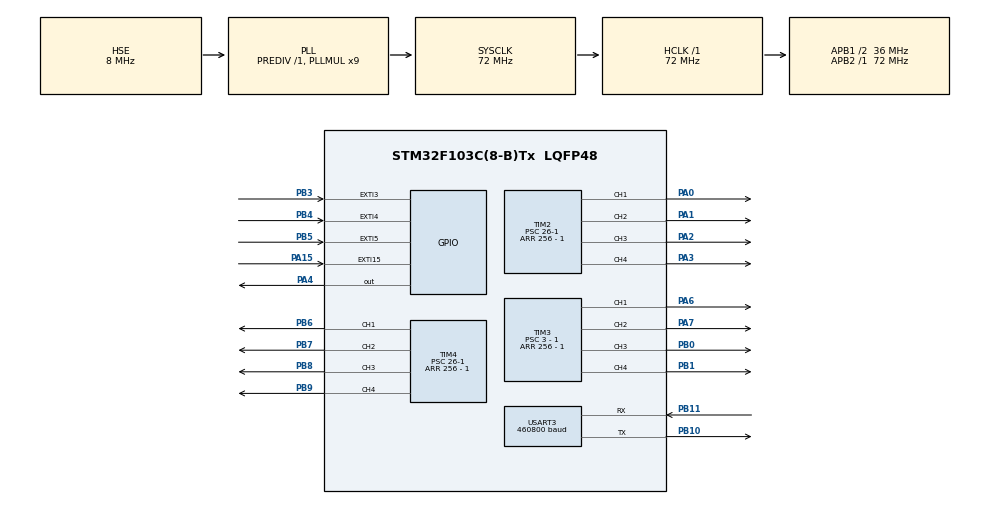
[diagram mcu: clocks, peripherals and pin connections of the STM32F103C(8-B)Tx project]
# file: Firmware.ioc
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Dma.Request0=USART3_RX
Dma.USART3_RX.0.Direction=DMA_PERIPH_TO_MEMORY
Dma.USART3_RX.0.Instance=DMA1_Channel3
Dma.USART3_RX.0.MemDataAlignment=DMA_MDATAALIGN_BYTE
Dma.USART3_RX.0.MemInc=DMA_MINC_ENABLE
Dma.USART3_RX.0.Mode=DMA_NORMAL
Dma.USART3_RX.0.PeriphDataAlignment=DMA_PDATAALIGN_BYTE
Dma.USART3_RX.0.PeriphInc=DMA_PINC_DISABLE
Dma.USART3_RX.0.Priority=DMA_PRIORITY_LOW
Mcu.Family=STM32F1
Mcu.Name=STM32F103C(8-B)Tx
Mcu.Package=LQFP48
NVIC.DMA1_Channel3_IRQn=true\:0\:0\:false\:false\:true\:false\:true\:true
NVIC.EXTI15_10_IRQn=true\:0\:0\:false\:false\:true\:true\:true\:true
NVIC.EXTI3_IRQn=true\:0\:0\:false\:false\:true\:true\:true\:true
NVIC.EXTI4_IRQn=true\:0\:0\:false\:false\:true\:true\:true\:true
NVIC.EXTI9_5_IRQn=true\:0\:0\:false\:false\:true\:true\:true\:true
NVIC.PriorityGroup=NVIC_PRIORITYGROUP_4
NVIC.USART3_IRQn=true\:0\:0\:false\:false\:true\:true\:true\:true
PA0-WKUP.Signal=S_TIM2_CH1_ETR
PA1.Signal=S_TIM2_CH2
PA15.GPIO_ModeDefaultEXTI=GPIO_MODE_IT_RISING
PA15.Signal=GPXTI15
PA2.Signal=S_TIM2_CH3
PA3.Signal=S_TIM2_CH4
PA4.Signal=GPIO_Output
PA6.Signal=S_TIM3_CH1
PA7.Signal=S_TIM3_CH2
PB0.Signal=S_TIM3_CH3
PB1.Signal=S_TIM3_CH4
PB10.Mode=Asynchronous
PB10.Signal=USART3_TX
PB11.Mode=Asynchronous
PB11.Signal=USART3_RX
PB3.Signal=GPXTI3
PB4.Signal=GPXTI4
PB5.Signal=GPXTI5
PB6.Signal=S_TIM4_CH1
PB7.Signal=S_TIM4_CH2
PB8.Signal=S_TIM4_CH3
PB9.Signal=S_TIM4_CH4
PD0-OSC_IN.Mode=HSE-External-Oscillator
PD0-OSC_IN.Signal=RCC_OSC_IN
PD1-OSC_OUT.Mode=HSE-External-Oscillator
PD1-OSC_OUT.Signal=RCC_OSC_OUT
ProjectManager.HeapSize=0x200
ProjectManager.StackSize=0x400
ProjectManager.TargetToolchain=STM32CubeIDE
RCC.AHBFreq_Value=72000000
RCC.APB1CLKDivider=RCC_HCLK_DIV2
RCC.APB1Freq_Value=36000000
RCC.APB1TimFreq_Value=72000000
RCC.APB2Freq_Value=72000000
RCC.APB2TimFreq_Value=72000000
RCC.HCLKFreq_Value=72000000
RCC.PLLMUL=RCC_PLL_MUL9
RCC.PLLSourceVirtual=RCC_PLLSOURCE_HSE
RCC.SYSCLKFreq_VALUE=72000000
RCC.SYSCLKSource=RCC_SYSCLKSOURCE_PLLCLK
RCC.USBFreq_Value=72000000
SH.S_TIM2_CH1_ETR.0=TIM2_CH1,PWM Generation1 CH1
SH.S_TIM2_CH2.0=TIM2_CH2,PWM Generation2 CH2
SH.S_TIM2_CH3.0=TIM2_CH3,PWM Generation3 CH3
SH.S_TIM2_CH4.0=TIM2_CH4,PWM Generation4 CH4
SH.S_TIM3_CH1.0=TIM3_CH1,PWM Generation1 CH1
SH.S_TIM3_CH2.0=TIM3_CH2,PWM Generation2 CH2
SH.S_TIM3_CH3.0=TIM3_CH3,PWM Generation3 CH3
SH.S_TIM3_CH4.0=TIM3_CH4,PWM Generation4 CH4
SH.S_TIM4_CH1.0=TIM4_CH1,PWM Generation1 CH1
SH.S_TIM4_CH2.0=TIM4_CH2,PWM Generation2 CH2
SH.S_TIM4_CH3.0=TIM4_CH3,PWM Generation3 CH3
SH.S_TIM4_CH4.0=TIM4_CH4,PWM Generation4 CH4
TIM1.AutoReloadPreload=TIM_AUTORELOAD_PRELOAD_DISABLE
TIM1.Period=65536-1
TIM1.Prescaler=72-1
TIM2.Channel-PWM\ Generation1\ CH1=TIM_CHANNEL_1
TIM2.Channel-PWM\ Generation2\ CH2=TIM_CHANNEL_2
TIM2.Channel-PWM\ Generation3\ CH3=TIM_CHANNEL_3
TIM2.Channel-PWM\ Generation4\ CH4=TIM_CHANNEL_4
TIM2.Period=256 - 1
TIM2.Prescaler=26-1
TIM3.Channel-PWM\ Generation1\ CH1=TIM_CHANNEL_1
TIM3.Channel-PWM\ Generation2\ CH2=TIM_CHANNEL_2
TIM3.Channel-PWM\ Generation3\ CH3=TIM_CHANNEL_3
TIM3.Channel-PWM\ Generation4\ CH4=TIM_CHANNEL_4
TIM3.Period=256 - 1
TIM3.Prescaler=3 - 1
TIM4.Channel-PWM\ Generation1\ CH1=TIM_CHANNEL_1
TIM4.Channel-PWM\ Generation2\ CH2=TIM_CHANNEL_2
TIM4.Channel-PWM\ Generation3\ CH3=TIM_CHANNEL_3
TIM4.Channel-PWM\ Generation4\ CH4=TIM_CHANNEL_4
TIM4.Period=256 - 1
TIM4.Prescaler=26-1
USART3.BaudRate=460800
USART3.VirtualMode=VM_ASYNC
VP_SYS_VS_ND.Mode=No_Debug
VP_TIM1_VS_ClockSourceINT.Mode=Internal
board=custom

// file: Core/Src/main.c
/* USER CODE BEGIN Header */
/**
  ******************************************************************************
  * @file           : main.c
  * @brief          : Main program body
  ******************************************************************************
  * @attention
  *
  * Copyright (c) 2026 STMicroelectronics.
  * All rights reserved.
  *
  * This software is licensed under terms that can be found in the LICENSE file
  * in the root directory of this software component.
  * If no LICENSE file comes with this software, it is provided AS-IS.
  *
  ******************************************************************************
  */
/* USER CODE END Header */
#include "main.h"

/* USER CODE BEGIN Includes */
#define MODULE_ID 7

/* USER CODE END Includes */

/* USER CODE BEGIN PD */
#define FRAME_DATA_LENGTH 589 // bytes
#define SWITCH_DATA_LENGTH 2 // bytes
/* USER CODE END PD */

TIM_HandleTypeDef htim1;
TIM_HandleTypeDef htim2;
TIM_HandleTypeDef htim3;
TIM_HandleTypeDef htim4;

UART_HandleTypeDef huart3;
DMA_HandleTypeDef hdma_usart3_rx;

/* USER CODE BEGIN PV */
uint8_t uart_rx_buffer[FRAME_DATA_LENGTH]; //rx buffer is 589 bytes
uint8_t uart_tx_buffer[SWITCH_DATA_LENGTH]; //tx buffer is 2 bytes

uint8_t microswitch[4] = {0}; //0 is off, 1 is on
uint8_t microswitch_off_next_cycle[4] = {0}; //set microswitch to be off on the next frame cycle

uint8_t microswitch_reported[4] = {0}; // reported values we send back to computer

uint8_t led_color_1[3]; // led color pixel [R val, G val, B val]
uint8_t led_color_2[3];
uint8_t led_color_3[3];
uint8_t led_color_4[3];

volatile uint8_t potentialMan[4] = {0}; // potentially microswitch may be on. slop variable to move while loop into main :(
volatile uint32_t timeStart[4] = {0};

volatile uint8_t resyncing = 0;
uint8_t sync_byte;

// state enums - idle, waiting, transmitted,
typedef enum {
	IDLE,
	WAITING,
	TRANSMITTED
} State;

typedef enum {
	RED,
	GREEN,
	BLUE
} Color;

State state = IDLE;

/* USER CODE END PV */

void SystemClock_Config(void);
static void MX_GPIO_Init(void);
static void MX_DMA_Init(void);
static void MX_TIM2_Init(void);
static void MX_TIM3_Init(void);
static void MX_TIM4_Init(void);
static void MX_USART3_UART_Init(void);
static void MX_TIM1_Init(void);

/* USER CODE BEGIN 0 */

/*== LED TIMER CHANNEL REFERENCE ==
PB1 -> TIM3_CH4 (R1)
PB0 -> TIM3_CH3 (G1)
PA7 -> TIM3_CH2 (B1)

PA6 -> TIM3_CH1 (R2)
PB6 -> TIM4_CH1 (G2)
PB7 -> TIM4_CH2 (B2)

PA2 -> TIM2_CH3 (R3)
PA1 -> TIM2_CH2 (G3)
PA0 -> TIM2_CH1 (B3)

PB8 -> TIM4_CH3 (R4)
PB9 -> TIM4_CH4 (G4)
PA3 -> TIM2_CH4 (B4) */

void command_led_1(uint8_t r, uint8_t g, uint8_t b) {
	led_color_1[RED] = r; // check protocol sheet for more information, sets colors to what is put in buffer (based on module ID)
	led_color_1[GREEN] = g;
	led_color_1[BLUE] = b;

	__HAL_TIM_SET_COMPARE(&htim3, TIM_CHANNEL_4, r);
	__HAL_TIM_SET_COMPARE(&htim3, TIM_CHANNEL_3, g);
	__HAL_TIM_SET_COMPARE(&htim3, TIM_CHANNEL_2, b);
}

void command_led_2(uint8_t r, uint8_t g, uint8_t b) {
	led_color_2[RED] = r;
	led_color_2[GREEN] = g;
	led_color_2[BLUE] = b;

	__HAL_TIM_SET_COMPARE(&htim3, TIM_CHANNEL_1, r);
	__HAL_TIM_SET_COMPARE(&htim4, TIM_CHANNEL_1, g);
	__HAL_TIM_SET_COMPARE(&htim4, TIM_CHANNEL_2, b);
}

void command_led_3(uint8_t r, uint8_t g, uint8_t b) {
	led_color_3[RED] = r;
	led_color_3[GREEN] = g;
	led_color_3[BLUE] = b;

	__HAL_TIM_SET_COMPARE(&htim2, TIM_CHANNEL_3, r);
	__HAL_TIM_SET_COMPARE(&htim2, TIM_CHANNEL_2, g);
	__HAL_TIM_SET_COMPARE(&htim2, TIM_CHANNEL_1, b);
}

void command_led_4(uint8_t r, uint8_t g, uint8_t b) {
	led_color_4[RED] = r;
	led_color_4[GREEN] = g;
	led_color_4[BLUE] = b;

	__HAL_TIM_SET_COMPARE(&htim4, TIM_CHANNEL_3, r);
	__HAL_TIM_SET_COMPARE(&htim4, TIM_CHANNEL_4, g);
	__HAL_TIM_SET_COMPARE(&htim2, TIM_CHANNEL_4, b);
}

/* USER CODE END 0 */

int main(void)
{

  /* MCU Configuration--------------------------------------------------------*/

  /* Reset of all peripherals, Initializes the Flash interface and the Systick. */
  HAL_Init();

  /* Configure the system clock */
  SystemClock_Config();

  /* USER CODE BEGIN SysInit */
  __HAL_RCC_AFIO_CLK_ENABLE();
  __HAL_AFIO_REMAP_SWJ_NOJTAG();   // releases JTAG-only pins (PA15, PB3, PB4) for GPIO use, keeps SWD (PA13/PA14) alive for debugging
  /* USER CODE END SysInit */

  /* Initialize all configured peripherals */
  MX_GPIO_Init();
  MX_DMA_Init();
  MX_TIM2_Init();
  MX_TIM3_Init();
  MX_TIM4_Init();
  MX_USART3_UART_Init();
  MX_TIM1_Init();
  /* USER CODE BEGIN 2 */

  /* Enable PWM Timers */
    HAL_TIM_PWM_Start(&htim2, TIM_CHANNEL_1);
    HAL_TIM_PWM_Start(&htim2, TIM_CHANNEL_2);
    HAL_TIM_PWM_Start(&htim2, TIM_CHANNEL_3);
    HAL_TIM_PWM_Start(&htim2, TIM_CHANNEL_4);

    HAL_TIM_PWM_Start(&htim3, TIM_CHANNEL_1);
    HAL_TIM_PWM_Start(&htim3, TIM_CHANNEL_2);
    HAL_TIM_PWM_Start(&htim3, TIM_CHANNEL_3);
    HAL_TIM_PWM_Start(&htim3, TIM_CHANNEL_4);

    HAL_TIM_PWM_Start(&htim4, TIM_CHANNEL_1);
    HAL_TIM_PWM_Start(&htim4, TIM_CHANNEL_2);
    HAL_TIM_PWM_Start(&htim4, TIM_CHANNEL_3);
    HAL_TIM_PWM_Start(&htim4, TIM_CHANNEL_4);

    HAL_TIM_Base_Start(&htim1);

    HAL_UART_Receive_DMA(&huart3, uart_rx_buffer, FRAME_DATA_LENGTH); // Initialize receiving

    HAL_GPIO_WritePin(GPIOA, GPIO_PIN_4, GPIO_PIN_RESET); // data enable low

  /* USER CODE END 2 */

  /* Infinite loop */
  /* USER CODE BEGIN WHILE */
  while (1)
  {

	  // microswitch sensing
		if (potentialMan[0] == 1) {
			if (HAL_GPIO_ReadPin(GPIOA, GPIO_PIN_15) == GPIO_PIN_RESET) {
				microswitch[0] = 0;
			}
			else if (HAL_GetTick() - timeStart[0] >= 10) {
				/* MICROSWITCH HAS BEEN PRESSED */
				microswitch_off_next_cycle[0] = 0;
				microswitch[0] = 1;
				microswitch_reported[0] = 1;
				potentialMan[0] = 0;
			}
		}
		if (microswitch[0] == 1 || microswitch_reported[0] == 1) {
			if (HAL_GPIO_ReadPin(GPIOA, GPIO_PIN_15) == GPIO_PIN_RESET) {
				/* MICROSWITCH IS NOT PRESSED */
				microswitch[0] = 0;
				microswitch_off_next_cycle[0] = 1;
			}
		}

		if (potentialMan[1] == 1) {
			if (HAL_GPIO_ReadPin(GPIOB, GPIO_PIN_3) == GPIO_PIN_RESET) {
				microswitch[1] = 0;
			}
			else if (HAL_GetTick() - timeStart[1] >= 10) {
				/* MICROSWITCH HAS BEEN PRESSED */
				microswitch_off_next_cycle[1] = 0;
				microswitch[1] = 1;
				microswitch_reported[1] = 1;
				potentialMan[1] = 0;
			}
		}
		if (microswitch[1] == 1 || microswitch_reported[1] == 1) {
			if (HAL_GPIO_ReadPin(GPIOB, GPIO_PIN_3) == GPIO_PIN_RESET) {
				/* MICROSWITCH IS NOT PRESSED */
				microswitch[1] = 0;
				microswitch_off_next_cycle[1] = 1;
			}
		}

		if (potentialMan[2] == 1) {
			if (HAL_GPIO_ReadPin(GPIOB, GPIO_PIN_4) == GPIO_PIN_RESET) {
				microswitch[2] = 0;
			}
			else if (HAL_GetTick() - timeStart[2] >= 10) {
				/* MICROSWITCH HAS BEEN PRESSED */
				microswitch_off_next_cycle[2] = 0;
				microswitch[2] = 1;
				microswitch_reported[2] = 1;
				potentialMan[2] = 0;
			}
		}
		if (microswitch[2] == 1 || microswitch_reported[2] == 1) {
			if (HAL_GPIO_ReadPin(GPIOB, GPIO_PIN_4) == GPIO_PIN_RESET) {
				/* MICROSWITCH IS NOT PRESSED */
				microswitch[2] = 0;
				microswitch_off_next_cycle[2] = 1;
			}
		}

		if (potentialMan[3] == 1) {
			if (HAL_GPIO_ReadPin(GPIOB, GPIO_PIN_5) == GPIO_PIN_RESET) {
				microswitch[3] = 0;
			}
			else if (HAL_GetTick() - timeStart[3] >= 10) {
				/* MICROSWITCH HAS BEEN PRESSED */
				microswitch_off_next_cycle[3] = 0;
				microswitch[3] = 1;
				microswitch_reported[3] = 1;
				potentialMan[3] = 0;
			}
		}
		if (microswitch[3] == 1 || microswitch_reported[3] == 1) {
			if (HAL_GPIO_ReadPin(GPIOB, GPIO_PIN_5) == GPIO_PIN_RESET) {
				/* MICROSWITCH IS NOT PRESSED */
				microswitch[3] = 0;
				microswitch_off_next_cycle[3] = 1;
			}
		}

	  if (state == WAITING) {
		  if ((TIM1 -> CNT) > (300 + ((50 + 150) * (MODULE_ID - 1)))) {
			  /* Format tx data buffer */
			  uart_tx_buffer[0] = MODULE_ID;
			  uart_tx_buffer[1] = (microswitch_reported[3] << 3) | (microswitch_reported[2] << 2) | (microswitch_reported[1] << 1) | (microswitch_reported[0] << 0);

//			  HAL_UART_Transmit_IT(&huart3, uart_tx_buffer, SWITCH_DATA_LENGTH);
			  if (uart_tx_buffer[1]) {
				  HAL_GPIO_WritePin(GPIOA, GPIO_PIN_4, GPIO_PIN_SET); // data enable high
				  HAL_UART_Transmit(&huart3, uart_tx_buffer, SWITCH_DATA_LENGTH, 10);
				  HAL_GPIO_WritePin(GPIOA, GPIO_PIN_4, GPIO_PIN_RESET); // pull DE low
			  }
			  state = TRANSMITTED;
		  }
	  }
	  if (TIM1 -> CNT > 13000 && state != IDLE) { // if timer > 13ms
		  __HAL_TIM_SET_COUNTER(&htim1,0); // re-start millisecond timer @ 0
		  HAL_UART_Receive_DMA(&huart3, uart_rx_buffer, FRAME_DATA_LENGTH); // restart listening to UART
		  state = IDLE;
	  }

	  static uint32_t last_switch_clear_tick = 0;
	  if (HAL_GetTick() - last_switch_clear_tick >= 33) {  // ~33ms, reset once per frame
	      last_switch_clear_tick = HAL_GetTick();
	      for (int i = 0; i < 4; i++) {
	          if (microswitch_off_next_cycle[i]) {
	              microswitch_reported[i] = 0;
	              microswitch_off_next_cycle[i] = 0;
	          }
	      }
	  }

    /* USER CODE END WHILE */

  }
}

void SystemClock_Config(void)
{
  RCC_OscInitTypeDef RCC_OscInitStruct = {0};
  RCC_ClkInitTypeDef RCC_ClkInitStruct = {0};

  /** Initializes the RCC Oscillators according to the specified parameters
  * in the RCC_OscInitTypeDef structure.
  */
  RCC_OscInitStruct.OscillatorType = RCC_OSCILLATORTYPE_HSE;
  RCC_OscInitStruct.HSEState = RCC_HSE_ON;
  RCC_OscInitStruct.HSEPredivValue = RCC_HSE_PREDIV_DIV1;
  RCC_OscInitStruct.HSIState = RCC_HSI_ON;
  RCC_OscInitStruct.PLL.PLLState = RCC_PLL_ON;
  RCC_OscInitStruct.PLL.PLLSource = RCC_PLLSOURCE_HSE;
  RCC_OscInitStruct.PLL.PLLMUL = RCC_PLL_MUL9;
  if (HAL_RCC_OscConfig(&RCC_OscInitStruct) != HAL_OK)
  {
    Error_Handler();
  }

  /** Initializes the CPU, AHB and APB buses clocks
  */
  RCC_ClkInitStruct.ClockType = RCC_CLOCKTYPE_HCLK|RCC_CLOCKTYPE_SYSCLK
                              |RCC_CLOCKTYPE_PCLK1|RCC_CLOCKTYPE_PCLK2;
  RCC_ClkInitStruct.SYSCLKSource = RCC_SYSCLKSOURCE_PLLCLK;
  RCC_ClkInitStruct.AHBCLKDivider = RCC_SYSCLK_DIV1;
  RCC_ClkInitStruct.APB1CLKDivider = RCC_HCLK_DIV2;
  RCC_ClkInitStruct.APB2CLKDivider = RCC_HCLK_DIV1;

  if (HAL_RCC_ClockConfig(&RCC_ClkInitStruct, FLASH_LATENCY_2) != HAL_OK)
  {
    Error_Handler();
  }
}

static void MX_TIM1_Init(void)
{

  TIM_ClockConfigTypeDef sClockSourceConfig = {0};
  TIM_MasterConfigTypeDef sMasterConfig = {0};

  htim1.Instance = TIM1;
  htim1.Init.Prescaler = 72-1;
  htim1.Init.CounterMode = TIM_COUNTERMODE_UP;
  htim1.Init.Period = 65536-1;
  htim1.Init.ClockDivision = TIM_CLOCKDIVISION_DIV1;
  htim1.Init.RepetitionCounter = 0;
  htim1.Init.AutoReloadPreload = TIM_AUTORELOAD_PRELOAD_DISABLE;
  if (HAL_TIM_Base_Init(&htim1) != HAL_OK)
  {
    Error_Handler();
  }
  sClockSourceConfig.ClockSource = TIM_CLOCKSOURCE_INTERNAL;
  if (HAL_TIM_ConfigClockSource(&htim1, &sClockSourceConfig) != HAL_OK)
  {
    Error_Handler();
  }
  sMasterConfig.MasterOutputTrigger = TIM_TRGO_RESET;
  sMasterConfig.MasterSlaveMode = TIM_MASTERSLAVEMODE_DISABLE;
  if (HAL_TIMEx_MasterConfigSynchronization(&htim1, &sMasterConfig) != HAL_OK)
  {
    Error_Handler();
  }

}

static void MX_TIM2_Init(void)
{

  TIM_MasterConfigTypeDef sMasterConfig = {0};
  TIM_OC_InitTypeDef sConfigOC = {0};

  htim2.Instance = TIM2;
  htim2.Init.Prescaler = 26-1;
  htim2.Init.CounterMode = TIM_COUNTERMODE_UP;
  htim2.Init.Period = 256 - 1;
  htim2.Init.ClockDivision = TIM_CLOCKDIVISION_DIV1;
  htim2.Init.AutoReloadPreload = TIM_AUTORELOAD_PRELOAD_DISABLE;
  if (HAL_TIM_PWM_Init(&htim2) != HAL_OK)
  {
    Error_Handler();
  }
  sMasterConfig.MasterOutputTrigger = TIM_TRGO_RESET;
  sMasterConfig.MasterSlaveMode = TIM_MASTERSLAVEMODE_DISABLE;
  if (HAL_TIMEx_MasterConfigSynchronization(&htim2, &sMasterConfig) != HAL_OK)
  {
    Error_Handler();
  }
  sConfigOC.OCMode = TIM_OCMODE_PWM1;
  sConfigOC.Pulse = 0;
  sConfigOC.OCPolarity = TIM_OCPOLARITY_HIGH;
  sConfigOC.OCFastMode = TIM_OCFAST_DISABLE;
  if (HAL_TIM_PWM_ConfigChannel(&htim2, &sConfigOC, TIM_CHANNEL_1) != HAL_OK)
  {
    Error_Handler();
  }
  if (HAL_TIM_PWM_ConfigChannel(&htim2, &sConfigOC, TIM_CHANNEL_2) != HAL_OK)
  {
    Error_Handler();
  }
  if (HAL_TIM_PWM_ConfigChannel(&htim2, &sConfigOC, TIM_CHANNEL_3) != HAL_OK)
  {
    Error_Handler();
  }
  if (HAL_TIM_PWM_ConfigChannel(&htim2, &sConfigOC, TIM_CHANNEL_4) != HAL_OK)
  {
    Error_Handler();
  }
  HAL_TIM_MspPostInit(&htim2);

}

static void MX_TIM3_Init(void)
{

  TIM_MasterConfigTypeDef sMasterConfig = {0};
  TIM_OC_InitTypeDef sConfigOC = {0};

  htim3.Instance = TIM3;
  htim3.Init.Prescaler = 3 - 1;
  htim3.Init.CounterMode = TIM_COUNTERMODE_UP;
  htim3.Init.Period = 256 - 1;
  htim3.Init.ClockDivision = TIM_CLOCKDIVISION_DIV1;
  htim3.Init.AutoReloadPreload = TIM_AUTORELOAD_PRELOAD_DISABLE;
  if (HAL_TIM_PWM_Init(&htim3) != HAL_OK)
  {
    Error_Handler();
  }
  sMasterConfig.MasterOutputTrigger = TIM_TRGO_RESET;
  sMasterConfig.MasterSlaveMode = TIM_MASTERSLAVEMODE_DISABLE;
  if (HAL_TIMEx_MasterConfigSynchronization(&htim3, &sMasterConfig) != HAL_OK)
  {
    Error_Handler();
  }
  sConfigOC.OCMode = TIM_OCMODE_PWM1;
  sConfigOC.Pulse = 0;
  sConfigOC.OCPolarity = TIM_OCPOLARITY_HIGH;
  sConfigOC.OCFastMode = TIM_OCFAST_DISABLE;
  if (HAL_TIM_PWM_ConfigChannel(&htim3, &sConfigOC, TIM_CHANNEL_1) != HAL_OK)
  {
    Error_Handler();
  }
  if (HAL_TIM_PWM_ConfigChannel(&htim3, &sConfigOC, TIM_CHANNEL_2) != HAL_OK)
  {
    Error_Handler();
  }
  if (HAL_TIM_PWM_ConfigChannel(&htim3, &sConfigOC, TIM_CHANNEL_3) != HAL_OK)
  {
    Error_Handler();
  }
  if (HAL_TIM_PWM_ConfigChannel(&htim3, &sConfigOC, TIM_CHANNEL_4) != HAL_OK)
  {
    Error_Handler();
  }
  HAL_TIM_MspPostInit(&htim3);

}

static void MX_TIM4_Init(void)
{

  TIM_MasterConfigTypeDef sMasterConfig = {0};
  TIM_OC_InitTypeDef sConfigOC = {0};

  htim4.Instance = TIM4;
  htim4.Init.Prescaler = 26-1;
  htim4.Init.CounterMode = TIM_COUNTERMODE_UP;
  htim4.Init.Period = 256 - 1;
  htim4.Init.ClockDivision = TIM_CLOCKDIVISION_DIV1;
  htim4.Init.AutoReloadPreload = TIM_AUTORELOAD_PRELOAD_DISABLE;
  if (HAL_TIM_PWM_Init(&htim4) != HAL_OK)
  {
    Error_Handler();
  }
  sMasterConfig.MasterOutputTrigger = TIM_TRGO_RESET;
  sMasterConfig.MasterSlaveMode = TIM_MASTERSLAVEMODE_DISABLE;
  if (HAL_TIMEx_MasterConfigSynchronization(&htim4, &sMasterConfig) != HAL_OK)
  {
    Error_Handler();
  }
  sConfigOC.OCMode = TIM_OCMODE_PWM1;
  sConfigOC.Pulse = 0;
  sConfigOC.OCPolarity = TIM_OCPOLARITY_HIGH;
  sConfigOC.OCFastMode = TIM_OCFAST_DISABLE;
  if (HAL_TIM_PWM_ConfigChannel(&htim4, &sConfigOC, TIM_CHANNEL_1) != HAL_OK)
  {
    Error_Handler();
  }
  if (HAL_TIM_PWM_ConfigChannel(&htim4, &sConfigOC, TIM_CHANNEL_2) != HAL_OK)
  {
    Error_Handler();
  }
  if (HAL_TIM_PWM_ConfigChannel(&htim4, &sConfigOC, TIM_CHANNEL_3) != HAL_OK)
  {
    Error_Handler();
  }
  if (HAL_TIM_PWM_ConfigChannel(&htim4, &sConfigOC, TIM_CHANNEL_4) != HAL_OK)
  {
    Error_Handler();
  }
  HAL_TIM_MspPostInit(&htim4);

}

static void MX_USART3_UART_Init(void)
{

  huart3.Instance = USART3;
  huart3.Init.BaudRate = 460800;
  huart3.Init.WordLength = UART_WORDLENGTH_8B;
  huart3.Init.StopBits = UART_STOPBITS_1;
  huart3.Init.Parity = UART_PARITY_NONE;
  huart3.Init.Mode = UART_MODE_TX_RX;
  huart3.Init.HwFlowCtl = UART_HWCONTROL_NONE;
  huart3.Init.OverSampling = UART_OVERSAMPLING_16;
  if (HAL_UART_Init(&huart3) != HAL_OK)
  {
    Error_Handler();
  }

}

static void MX_DMA_Init(void)
{

  /* DMA controller clock enable */
  __HAL_RCC_DMA1_CLK_ENABLE();

  /* DMA interrupt init */
  /* DMA1_Channel3_IRQn interrupt configuration */
  HAL_NVIC_SetPriority(DMA1_Channel3_IRQn, 0, 0);
  HAL_NVIC_EnableIRQ(DMA1_Channel3_IRQn);

}

static void MX_GPIO_Init(void)
{
  GPIO_InitTypeDef GPIO_InitStruct = {0};

  /* GPIO Ports Clock Enable */
  __HAL_RCC_GPIOD_CLK_ENABLE();
  __HAL_RCC_GPIOA_CLK_ENABLE();
  __HAL_RCC_GPIOB_CLK_ENABLE();

  /*Configure GPIO pin Output Level */
  HAL_GPIO_WritePin(GPIOA, GPIO_PIN_4, GPIO_PIN_RESET);

  /*Configure GPIO pin : PA4 */
  GPIO_InitStruct.Pin = GPIO_PIN_4;
  GPIO_InitStruct.Mode = GPIO_MODE_OUTPUT_PP;
  GPIO_InitStruct.Pull = GPIO_NOPULL;
  GPIO_InitStruct.Speed = GPIO_SPEED_FREQ_LOW;
  HAL_GPIO_Init(GPIOA, &GPIO_InitStruct);

  /*Configure GPIO pin : PA15 */
  GPIO_InitStruct.Pin = GPIO_PIN_15;
  GPIO_InitStruct.Mode = GPIO_MODE_IT_RISING;
  GPIO_InitStruct.Pull = GPIO_NOPULL;
  HAL_GPIO_Init(GPIOA, &GPIO_InitStruct);

  /*Configure GPIO pins : PB3 PB4 PB5 */
  GPIO_InitStruct.Pin = GPIO_PIN_3|GPIO_PIN_4|GPIO_PIN_5;
  GPIO_InitStruct.Mode = GPIO_MODE_IT_RISING;
  GPIO_InitStruct.Pull = GPIO_NOPULL;
  HAL_GPIO_Init(GPIOB, &GPIO_InitStruct);

  /* EXTI interrupt init*/
  HAL_NVIC_SetPriority(EXTI3_IRQn, 0, 0);
  HAL_NVIC_EnableIRQ(EXTI3_IRQn);

  HAL_NVIC_SetPriority(EXTI4_IRQn, 0, 0);
  HAL_NVIC_EnableIRQ(EXTI4_IRQn);

  HAL_NVIC_SetPriority(EXTI9_5_IRQn, 0, 0);
  HAL_NVIC_EnableIRQ(EXTI9_5_IRQn);

  HAL_NVIC_SetPriority(EXTI15_10_IRQn, 0, 0);
  HAL_NVIC_EnableIRQ(EXTI15_10_IRQn);

}

/* USER CODE BEGIN 4 */

void HAL_UART_ErrorCallback(UART_HandleTypeDef *huart) {
    __HAL_UART_CLEAR_PEFLAG(huart);
    resyncing = 1;
    HAL_UART_Receive_IT(&huart3, &sync_byte, 1);  // fall back to byte-scan resync
}

/* UART Receive Callback */
void HAL_UART_RxCpltCallback(UART_HandleTypeDef *huart) { // when rx buffer is filled, this function will get called -- ie when biiig frame transmit guy done
	if (resyncing) {
        // scanning one byte at a time looking for 0xFF
        if (sync_byte == 0xFF) {
            resyncing = 0;
            uart_rx_buffer[0] = 0xFF;
            // receive the REMAINING 588 bytes into slot 1 onward
            HAL_UART_Receive_DMA(&huart3, &uart_rx_buffer[1], FRAME_DATA_LENGTH - 1);
        } else {
            HAL_UART_Receive_IT(&huart3, &sync_byte, 1); // keep scanning
        }
        return;
	}

	if (uart_rx_buffer[0] == 0xFF && state == IDLE) { // if header matches and state is idle
		state = WAITING;
		__HAL_TIM_SET_COUNTER(&htim1,0); // start millisecond timer @ 0

		command_led_1(uart_rx_buffer[(MODULE_ID * 12) - 11],
					  uart_rx_buffer[(MODULE_ID * 12) - 11 + 1],
					  uart_rx_buffer[(MODULE_ID * 12) - 11 + 2]);

		command_led_2(uart_rx_buffer[(MODULE_ID * 12) - 11 + 3],
					  uart_rx_buffer[(MODULE_ID * 12) - 11 + 4],
					  uart_rx_buffer[(MODULE_ID * 12) - 11 + 5]);

		command_led_3(uart_rx_buffer[(MODULE_ID * 12) - 11 + 6],
					  uart_rx_buffer[(MODULE_ID * 12) - 11 + 7],
					  uart_rx_buffer[(MODULE_ID * 12) - 11 + 8]);

		command_led_4(uart_rx_buffer[(MODULE_ID * 12) - 11 + 9],
					  uart_rx_buffer[(MODULE_ID * 12) - 11 + 10],
					  uart_rx_buffer[(MODULE_ID * 12) - 11 + 11]);
	}
	else {
        // misaligned frame, do byte-scan resync until we hit header frame
        resyncing = 1;
        HAL_UART_Receive_IT(&huart3, &sync_byte, 1);
	}
}

void HAL_UART_TxCpltCallback(UART_HandleTypeDef *huart) { // tx callback
	HAL_GPIO_WritePin(GPIOA, GPIO_PIN_4, GPIO_PIN_RESET); //pull DE low
}

/* MICROSWITCH INTERRUPT */
void HAL_GPIO_EXTI_Callback(uint16_t GPIO_Pin) {
	if (GPIO_Pin == GPIO_PIN_15) {
		potentialMan[0] = 1;
		timeStart[0] = HAL_GetTick();
	}
	if (GPIO_Pin == GPIO_PIN_3) {
		potentialMan[1] = 1;
		timeStart[1] = HAL_GetTick();
	}
	if (GPIO_Pin == GPIO_PIN_4) {
		potentialMan[2] = 1;
		timeStart[2] = HAL_GetTick();
	}
	if (GPIO_Pin == GPIO_PIN_5) {
		potentialMan[3] = 1;
		timeStart[3] = HAL_GetTick();
	}
}

/* USER CODE END 4 */

void Error_Handler(void)
{
  __disable_irq();
  while (1)
  {
  }
}
